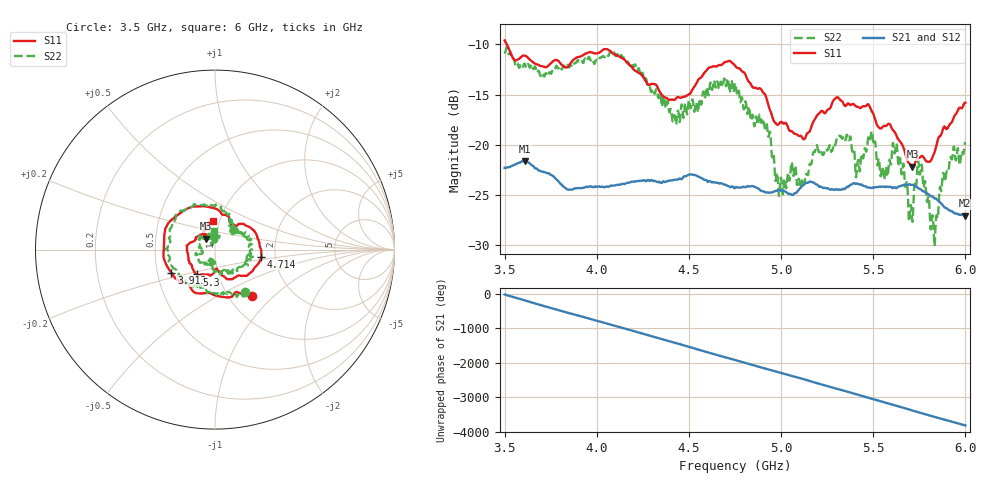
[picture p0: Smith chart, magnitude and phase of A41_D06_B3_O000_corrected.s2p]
! Created with skrf 1.9.0 (http://scikit-rf.org).
# Hz S RI R 50.0
!freq ReS11 ImS11 ReS21 ImS21 ReS12 ImS12 ReS22 ImS22
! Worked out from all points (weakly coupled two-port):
!   1601 points, 3.5 GHz to 6 GHz, reference 50 ohm
!   highest |S21| = -21.61 dB at 3.609 GHz (marker M1); lowest = -27.1 dB at 5.995 GHz (marker M2)
!   lowest |S11| = -22.2 dB at 5.713 GHz (marker M3), VSWR 1.17, Z = 45 + j5.5 ohm
!   |S11| at or under -10 dB: 3.512 GHz to end of sweep
!   |S22| runs from -30.1 to -10.3 dB; largest |S21 - S12| = 0.00098
!   S11 on the Smith chart (normalised r, x): 3.5 GHz: 1.28, -0.74; 3.913 GHz: 0.59, -0.17; 4.714 GHz: 1.69, -0.14; 5.3 GHz: 0.79, -0.22; 6 GHz: 0.93, +0.31
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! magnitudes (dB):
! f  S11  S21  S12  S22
! 3.5 GHz  -9.6  -22.3  -22.3  -10.7
! 3.609 GHz  -11.1  -21.6  -21.6  -11.9
! 3.913 GHz  -11.2  -24.3  -24.3  -11.5
! 3.917 GHz  -11.2  -24.3  -24.3  -11.5
! 4.141 GHz  -11.4  -23.9  -23.9  -11.3
! 4.334 GHz  -14.5  -23.7  -23.6  -15.3
! 4.422 GHz  -15.5  -23.5  -23.5  -17.1
! 4.714 GHz  -11.7  -24.1  -24.1  -13.7
! 4.75 GHz  -12.1  -24.3  -24.2  -13.9
! 4.93 GHz  -16.0  -24.7  -24.7  -19.1
! 4.998 GHz  -17.7  -24.5  -24.5  -23.3
! 5.167 GHz  -18.0  -23.7  -23.7  -21.7
! 5.3 GHz  -15.3  -24.4  -24.4  -19.5
! 5.486 GHz  -16.4  -24.3  -24.2  -19.2
! 5.584 GHz  -17.9  -24.2  -24.2  -21.9
! 5.617 GHz  -18.8  -24.2  -24.2  -20.8
! 5.713 GHz  -22.2  -24.0  -23.9  -27.7
! 5.753 GHz  -21.3  -24.4  -24.3  -23.0
! 5.839 GHz  -20.3  -25.3  -25.3  -27.9
! 5.873 GHz  -18.7  -25.9  -25.9  -23.8
! 5.995 GHz  -15.8  -27.1  -26.9  -20.1
! 6 GHz  -15.8  -27.0  -27.0  -19.7
